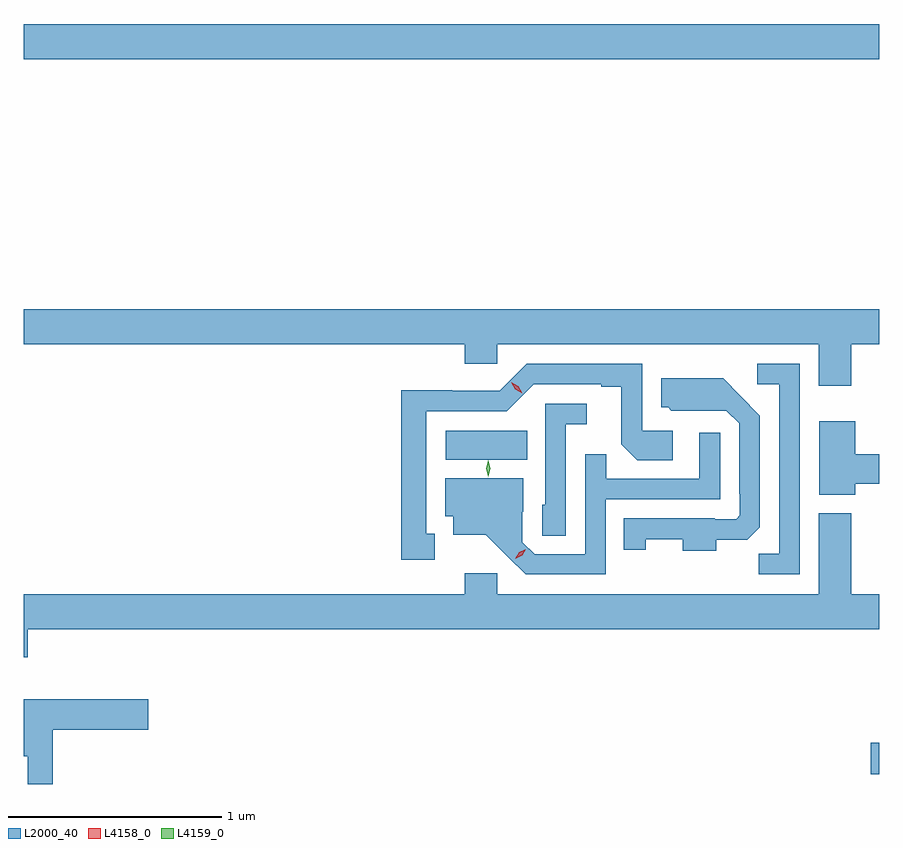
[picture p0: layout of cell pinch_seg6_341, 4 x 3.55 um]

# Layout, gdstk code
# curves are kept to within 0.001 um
import gdstk
lib = gdstk.Library(unit=1e-6, precision=1e-09)
def R(c, l, rs):  # rectangles x0, y0, x1, y1
    for r in rs: c.add(gdstk.rectangle(r[:2], r[2:], *l))
def P(c, l, *ps):  # polygons
    for p in ps: c.add(gdstk.Polygon(p, *l))
L2000_40 = (2000, 40)
L4158_0 = (4158, 0)
L4159_0 = (4159, 0)

pinch_seg6_341 = lib.new_cell('pinch_seg6_341')
R(pinch_seg6_341, L2000_40, [(700.134,945.326,700.174,945.473), (698.148,946.796,698.528,946.93), (696.174,948.668,700.174,948.832)])
P(pinch_seg6_341, L2000_40, [(700.043,947.336),(700.174,947.336),(700.174,947.5),(696.174,947.5),(696.174,947.336),(698.237,947.336),(698.237,947.243),(698.388,947.243),(698.388,947.336),(699.89,947.336),(699.89,947.142),(700.043,947.142)],
  [(699.801,947.244),(699.603,947.244),(699.603,947.148),(699.705,947.148),(699.705,946.355),(699.61,946.355),(699.61,946.26),(699.801,946.26)],
  [(698.095,946.449),(698.056,946.449),(698.056,947.022),(698.433,947.022),(698.559,947.148),(698.873,947.148),(698.873,947.136),(698.967,947.136),(698.967,946.868),(699.043,946.792),(699.208,946.792),(699.208,946.932),(699.066,946.932),(699.066,947.244),(698.526,947.244),(698.4,947.118),(698.178,947.118),(698.178,947.12),(697.938,947.12),(697.938,946.329),(698.095,946.329)],
  [(699.412,946.421),(699.556,946.421),(699.615,946.48),(699.615,947.002),(699.443,947.176),(699.155,947.176),(699.155,947.04),(699.186,947.04),(699.202,947.024),(699.459,947.025),(699.519,946.965),(699.519,946.636),(699.522,946.636),(699.522,946.536),(699.504,946.518),(699.404,946.518),(699.404,946.521),(698.98,946.521),(698.98,946.374),(699.081,946.374),(699.081,946.423),(699.254,946.423),(699.254,946.37),(699.412,946.37)],
  [(698.709,946.961),(698.806,946.961),(698.806,947.058),(698.613,947.058),(698.613,946.584),(698.598,946.584),(698.598,946.441),(698.709,946.441)],
  [(700.06,946.684),(700.174,946.684),(700.174,946.82),(700.06,946.82),(700.06,946.975),(699.893,946.975),(699.893,946.631),(700.06,946.631)],
  [(698.895,946.611),(699.429,946.611),(699.429,946.921),(699.333,946.921),(699.333,946.707),(698.897,946.707),(698.897,946.82),(698.799,946.82),(698.799,946.353),(698.562,946.353),(698.505,946.41),(698.505,946.552),(698.509,946.552),(698.509,946.708),(698.144,946.708),(698.144,946.532),(698.183,946.532),(698.183,946.445),(698.335,946.445),(698.522,946.26),(698.895,946.26)],
  [(696.174,945.873),(696.194,945.873),(696.194,946.004),(700.174,946.004),(700.174,946.168),(700.043,946.168),(700.043,946.546),(699.89,946.546),(699.89,946.168),(698.388,946.168),(698.388,946.264),(698.237,946.264),(698.237,946.168),(696.174,946.168)],
  [(696.311,945.533),(696.757,945.533),(696.757,945.675),(696.174,945.675),(696.174,945.41),(696.194,945.41),(696.194,945.28),(696.311,945.28)])
P(pinch_seg6_341, L4158_0, [(698.472,946.333),(698.472,946.333),(698.49,946.363),(698.521,946.378),(698.521,946.378),(698.521,946.378),(698.504,946.348),(698.473,946.333)],
  [(698.504,947.106),(698.472,947.125),(698.454,947.158),(698.454,947.158),(698.454,947.158),(698.486,947.139),(698.504,947.107),(698.504,947.106)])
P(pinch_seg6_341, L4159_0, [(698.346,946.715),(698.346,946.715),(698.336,946.754),(698.346,946.793),(698.346,946.793),(698.346,946.793),(698.356,946.754),(698.346,946.715)])

lib.write_gds('pinch_seg6_341.gds')
